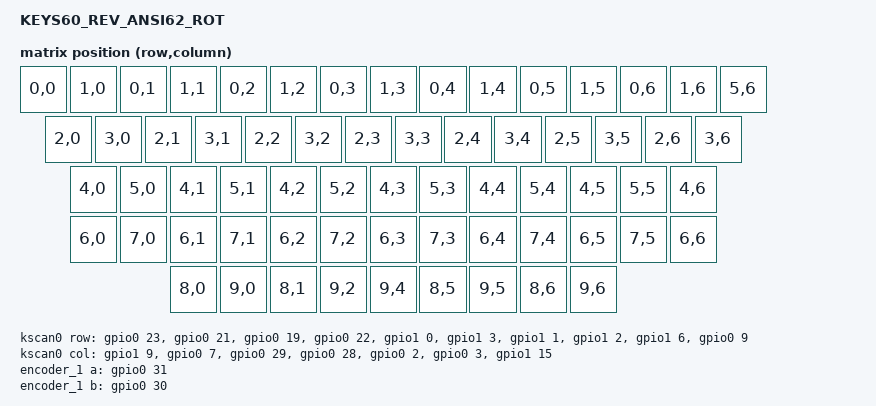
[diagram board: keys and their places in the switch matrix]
/*
 * Copyright (c) 2026 sig (Toxsig)
 *
 * SPDX-License-Identifier: MIT
 */

#include <dt-bindings/led/led.h>
#include "keys60_rev_ansi62_rot-pinctrl.dtsi"
#include "keys60_rev_ansi62_rot-layouts.dtsi"

#include <dt-bindings/zmk/matrix_transform.h>

/ {
    model = "KEYS60_REV_ANSI62_ROT";
    compatible = "sig,keys60";

    chosen {
    	zmk,kscan = &kscan0;
        zmk,physical-layout = &layout_0;

        zmk,backlight = &backlight;
	zmk,underglow = &led_strip;
	
	zmk,battery = &vbatt;
	zmk,studio-rpc-uart = &cdc_acm_uart;
    };


    default_transform: keymap_transform_0 {
        compatible = "zmk,matrix-transform";
	columns = <7>;
	rows = <10>;
	map = <
	       RC(0,0) RC(1,0) RC(0,1) RC(1,1) RC(0,2) RC(1,2) RC(0,3) RC(1,3) RC(0,4) RC(1,4) RC(0,5) RC(1,5) RC(0,6) RC(1,6) RC(5,6)
	       RC(2,0)   RC(3,0) RC(2,1) RC(3,1) RC(2,2) RC(3,2) RC(2,3) RC(3,3) RC(2,4) RC(3,4) RC(2,5) RC(3,5) RC(2,6)   RC(3,6)
	       RC(4,0)     RC(5,0) RC(4,1) RC(5,1) RC(4,2) RC(5,2) RC(4,3) RC(5,3) RC(4,4) RC(5,4) RC(4,5) RC(5,5)          RC(4,6)
	       RC(6,0)       RC(7,0) RC(6,1) RC(7,1) RC(6,2) RC(7,2) RC(6,3) RC(7,3) RC(6,4) RC(7,4)  RC(6,5)          RC(7,5)  RC(6,6)
	       RC(8,0)   RC(9,0)   RC(8,1)                      RC(9,2)                     RC(9,4) RC(8,5) RC(9,5) RC(8,6) RC(9,6)
	       >;
    };

    kscan0: kscan_0 {
        compatible = "zmk,kscan-gpio-matrix";
	diode-direction = "col2row";
        wakeup-source;

        col-gpios
	        = <&gpio1 9 GPIO_ACTIVE_HIGH>
		, <&gpio0 7 GPIO_ACTIVE_HIGH>
		, <&gpio0 29 GPIO_ACTIVE_HIGH>
		, <&gpio0 28 GPIO_ACTIVE_HIGH>
		, <&gpio0 2 GPIO_ACTIVE_HIGH>
		, <&gpio0 3 GPIO_ACTIVE_HIGH>
		, <&gpio1 15 GPIO_ACTIVE_HIGH>
		;

        row-gpios
	        = <&gpio0 23 (GPIO_ACTIVE_HIGH | GPIO_PULL_DOWN)>
		, <&gpio0 21 (GPIO_ACTIVE_HIGH | GPIO_PULL_DOWN)>
		, <&gpio0 19 (GPIO_ACTIVE_HIGH | GPIO_PULL_DOWN)>
		, <&gpio0 22 (GPIO_ACTIVE_HIGH | GPIO_PULL_DOWN)>
		, <&gpio1 0 (GPIO_ACTIVE_HIGH | GPIO_PULL_DOWN)>
		, <&gpio1 3 (GPIO_ACTIVE_HIGH | GPIO_PULL_DOWN)>
		, <&gpio1 1 (GPIO_ACTIVE_HIGH | GPIO_PULL_DOWN)>
		, <&gpio1 2 (GPIO_ACTIVE_HIGH | GPIO_PULL_DOWN)>
		, <&gpio1 6 (GPIO_ACTIVE_HIGH | GPIO_PULL_DOWN)>
		, <&gpio0 9 (GPIO_ACTIVE_HIGH | GPIO_PULL_DOWN)>
		;
    };
    
    vbatt: vbatt {
        compatible = "zmk,battery-voltage-divider";
	label = "VBATT";
	io-channels = <&adc 2>; // P0.04
	output-ohms = <2000000>;
	full-ohms = <(1000000 + 2000000)>;
	power-gpios = <&gpio0 5 GPIO_ACTIVE_HIGH>; // P0.05
    };
    
    ext-power {
        compatible = "zmk,ext-power-generic";
	label = "EXT_POWER";
	control-gpios = <&gpio0 12 GPIO_ACTIVE_HIGH>;
    };
    
    sensors {
        compatible = "zmk,keymap-sensors";
	sensors = <&encoder_1>;
	triggers-per-rotation = <10>;
    };
    
    encoder_1: encoder_1 {
        compatible = "alps,ec11";
	label = "ENCODER_ONE";
	a-gpios = <&gpio0 31 (GPIO_ACTIVE_HIGH | GPIO_PULL_UP)>;  /* swapped */
	b-gpios = <&gpio0 30 (GPIO_ACTIVE_HIGH | GPIO_PULL_UP)>;  /* swapped */
	steps = <24>;
	status = "okay";
    };
    
    backlight: pwmleds {
        compatible = "pwm-leds";
	label = "Backlight LEDs";
	pwm_led_0 {
	    pwms = <&pwm0 0 1000000 PWM_POLARITY_NORMAL>;
	};
    };
    
    leds {
        compatible = "gpio-leds";
	led_0: led_green { // P1.10
	    gpios = <&gpio1 10 GPIO_ACTIVE_LOW>;
	    label = "Green LED";
	    status = "okay";
	};
	led_1: led_red { // P1.13
	    gpios = <&gpio1 13 GPIO_ACTIVE_LOW>;
	    label = "Red LED";
	    status = "okay";
	};
	led_2: led_blue { // P1.11
	    gpios = <&gpio1 11 GPIO_ACTIVE_LOW>;
	    label = "Blue LED";
	    status = "okay";
	};
    };
    
    // These aliases are provided for compatibility with samples
    aliases {
        ledgreen = &led_0;
	ledred   = &led_1;
	ledblue  = &led_2;
    };

};

// for back-light
&pwm0 {
	status = "okay";
	pinctrl-0 = <&pwm0_default>;
	pinctrl-1 = <&pwm0_sleep>;
	pinctrl-names = "default", "sleep";
};

// for underglow
&spi3 {
	compatible = "nordic,nrf-spim";
	status = "okay";
	pinctrl-0 = <&spi3_default>;
	pinctrl-1 = <&spi3_sleep>;
	pinctrl-names = "default", "sleep";
	// rx-delay-supported;
	// rx-delay = < 0x2 >;
	led_strip: ws2812@0 {
		compatible = "worldsemi,ws2812-spi";
		label = "WS2812";

		/* SPI */
		reg = <0>; /* ignored, but necessary for SPI bindings */
		spi-max-frequency = <4000000>;

		/* WS2812 */
		chain-length = <17>; /* LED strip length */
		spi-one-frame = <0x70>;
		spi-zero-frame = <0x40>;
		color-mapping = <LED_COLOR_ID_GREEN LED_COLOR_ID_RED LED_COLOR_ID_BLUE>;
	};
};


&usbd {
    cdc_acm_uart: cdc_acm_uart {
        compatible = "zephyr,cdc-acm-uart";
    };
};
